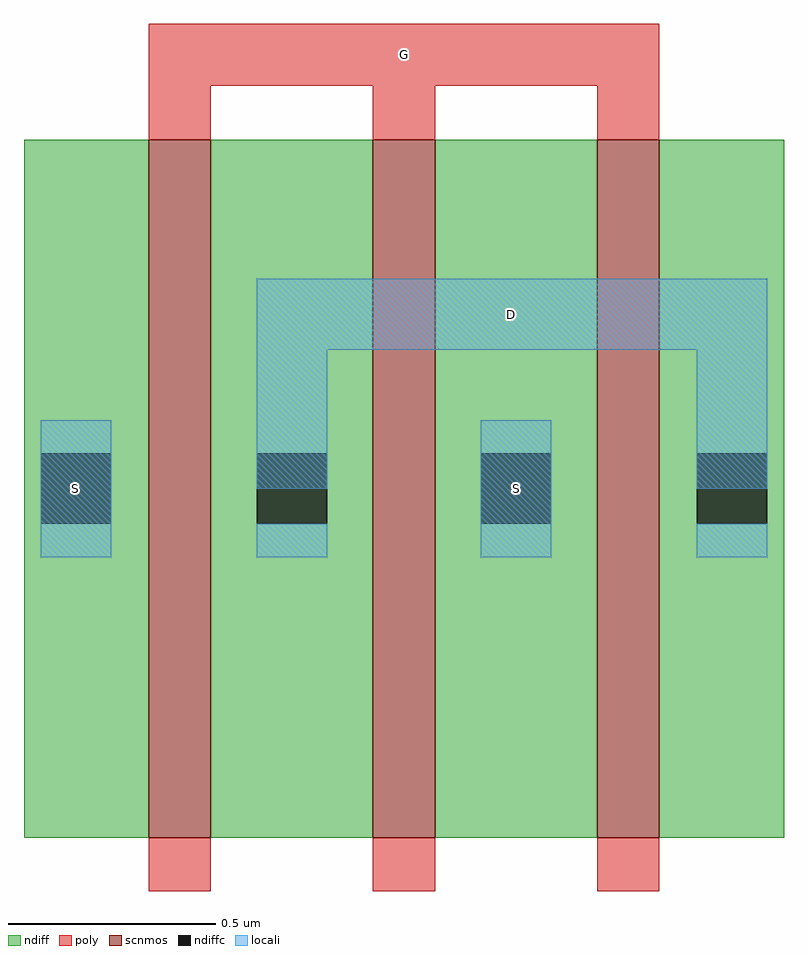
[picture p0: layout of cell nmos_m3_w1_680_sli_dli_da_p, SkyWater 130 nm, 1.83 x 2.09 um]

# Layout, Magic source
magic
tech sky130A
magscale 1 2
<< scnmos >>
rect 60 0 90 336
rect 168 0 198 336
rect 276 0 306 336
<< ndiff >>
rect 0 0 60 336
rect 90 0 168 336
rect 198 0 276 336
rect 306 0 366 336
<< poly >>
rect 60 362 306 392
rect 60 336 90 362
rect 168 336 198 362
rect 276 336 306 362
rect 60 -26 90 0
rect 168 -26 198 0
rect 276 -26 306 0
<< locali >>
rect 112 235 358 269
rect 8 135 42 201
rect 112 168 146 235
rect 220 135 254 201
rect 324 168 358 235
use contact_17  contact_17_3
transform 1 0 0 0 1 135
box 0 0 50 66
use contact_17  contact_17_2
transform 1 0 104 0 1 135
box 0 0 50 66
use contact_17  contact_17_1
transform 1 0 212 0 1 135
box 0 0 50 66
use contact_17  contact_17_0
transform 1 0 316 0 1 135
box 0 0 50 66
<< labels >>
rlabel poly s 183 377 183 377 4 G
rlabel corelocali s 237 168 237 168 4 S
rlabel corelocali s 25 168 25 168 4 S
rlabel corelocali s 235 252 235 252 4 D
<< properties >>
string FIXED_BBOX -25 -26 391 362
<< end >>

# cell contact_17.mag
magic
tech sky130A
<< ndiff >>
rect 0 25 25 31
rect 0 8 4 25
rect 21 8 25 25
rect 0 2 25 8
<< ndiffc >>
rect 4 8 21 25
<< locali >>
rect 4 25 21 33
rect 4 0 21 8
<< properties >>
string FIXED_BBOX -12 -10 37 43
<< end >>
